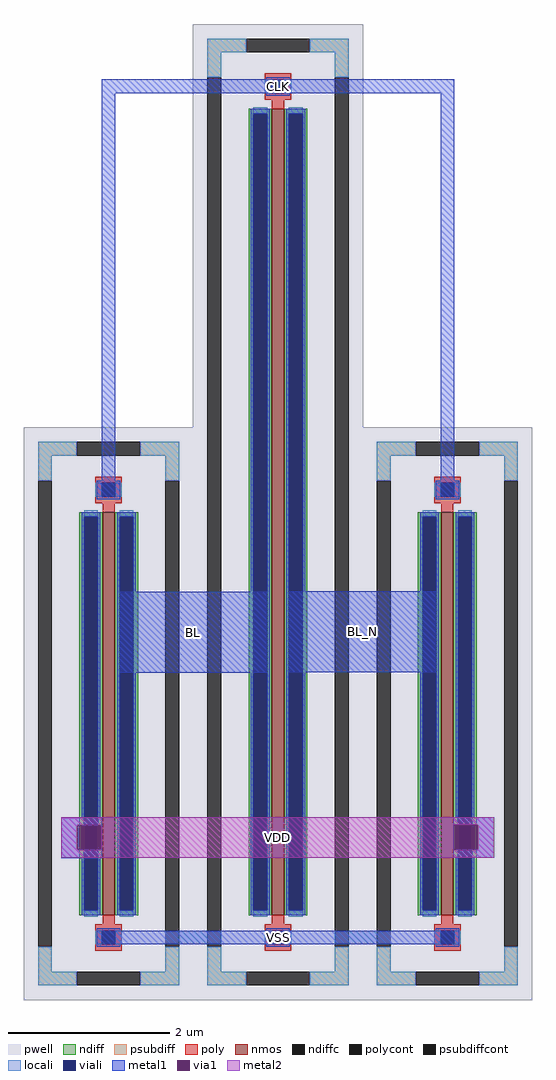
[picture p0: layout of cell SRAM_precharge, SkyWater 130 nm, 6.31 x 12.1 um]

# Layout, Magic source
magic
tech sky130A
magscale 1 2
<< locali >>
rect 299 85 437 119
rect 719 85 857 119
<< metal1 >>
rect 141 2195 1015 2230
rect 141 1195 175 2195
rect 981 1194 1015 2195
rect 185 759 551 959
rect 605 760 971 960
rect 40 380 141 399
rect 40 319 80 380
rect 140 319 141 380
rect 40 299 141 319
rect 1013 381 1114 400
rect 1073 320 1114 381
rect 1013 300 1114 320
rect 141 85 1015 119
<< via1 >>
rect 80 319 140 380
rect 1013 320 1073 381
<< metal2 >>
rect 40 381 1114 400
rect 40 380 1013 381
rect 40 319 80 380
rect 140 320 1013 380
rect 1073 320 1114 381
rect 140 319 1114 320
rect 40 300 1114 319
use sky130_fd_pr__nfet_01v8_66AFG5  sky130_fd_pr__nfet_01v8_66AFG5_0
transform 1 0 578 0 1 1157
box -211 -1210 211 1210
use sky130_fd_pr__nfet_01v8_GV8PYF  sky130_fd_pr__nfet_01v8_GV8PYF_0
transform 1 0 158 0 1 657
box -211 -710 211 710
use sky130_fd_pr__nfet_01v8_GV8PYF  sky130_fd_pr__nfet_01v8_GV8PYF_1
transform 1 0 998 0 1 657
box -211 -710 211 710
<< labels >>
flabel metal1 185 759 551 959 0 FreeSans 160 0 0 0 BL
port 2 nsew
flabel space 599 760 977 960 0 FreeSans 160 0 0 0 BL_N
port 3 nsew
flabel metal1 141 2195 1015 2230 0 FreeSans 160 0 0 0 CLK
port 1 nsew
flabel metal2 40 300 1114 400 0 FreeSans 160 0 0 0 VDD
port 4 nsew
flabel metal1 141 85 1015 119 0 FreeSans 160 0 0 0 VSS
port 5 nsew
<< end >>

# cell sky130_fd_pr__nfet_01v8_66AFG5: kit device sky130_fd_pr__nfet_01v8, w 10 l 0.150 m 1 nf 1 diffcov 100 polycov 100 guard 1 glc 1 grc 1 gtc 1 gbc 1 tbcov 100 rlcov 100 topc 1 botc 1 poverlap 0 doverlap 1 lmin 0.15 wmin 0.42 compatible {sky130_fd_pr__nfet_01v8 sky130_fd_pr__nfet_01v8_lvt sky130_fd_bs_flash__special_sonosfet_star sky130_fd_pr__nfet_g5v0d10v5 sky130_fd_pr__nfet_05v0_nvt sky130_fd_pr__nfet_03v3_nvt} full_metal 1 viasrc 100 viadrn 100 viagate 100 viagb 0 viagr 0 viagl 0 viagt 0

# cell sky130_fd_pr__nfet_01v8_GV8PYF: kit device sky130_fd_pr__nfet_01v8, w 5 l 0.150 m 1 nf 1 diffcov 100 polycov 100 guard 1 glc 1 grc 1 gtc 1 gbc 1 tbcov 100 rlcov 100 topc 1 botc 1 poverlap 0 doverlap 1 lmin 0.15 wmin 0.42 compatible {sky130_fd_pr__nfet_01v8 sky130_fd_pr__nfet_01v8_lvt sky130_fd_bs_flash__special_sonosfet_star sky130_fd_pr__nfet_g5v0d10v5 sky130_fd_pr__nfet_05v0_nvt sky130_fd_pr__nfet_03v3_nvt} full_metal 1 viasrc 100 viadrn 100 viagate 100 viagb 0 viagr 0 viagl 0 viagt 0
